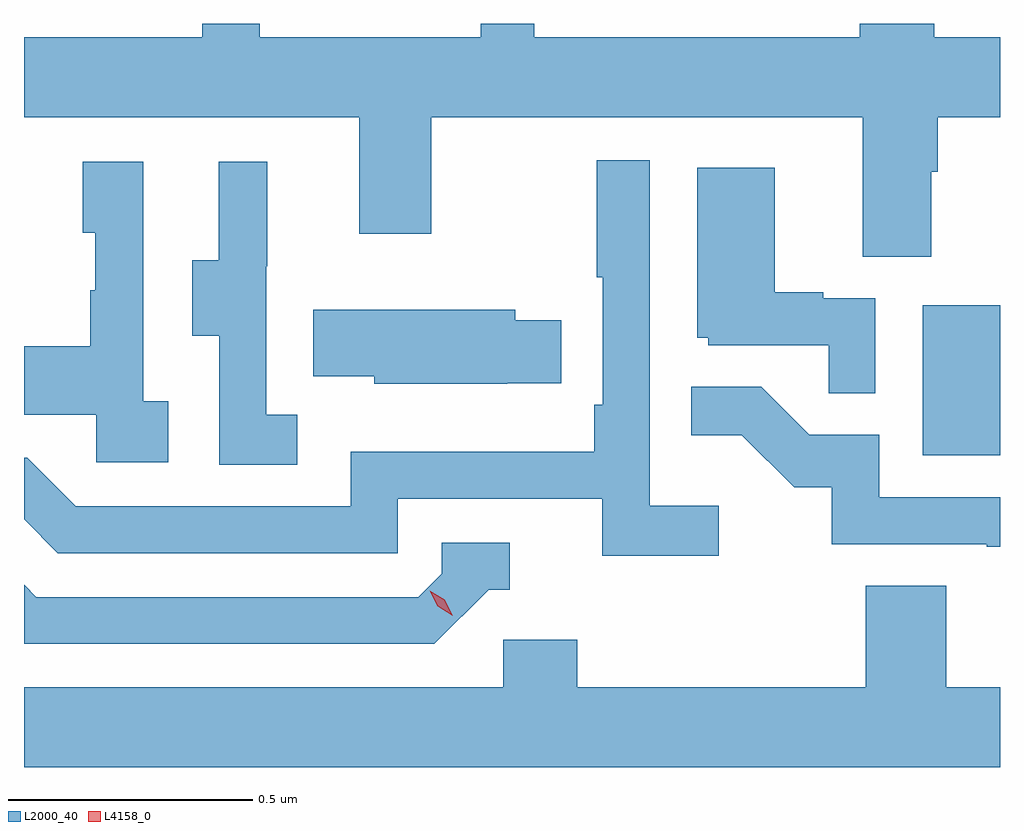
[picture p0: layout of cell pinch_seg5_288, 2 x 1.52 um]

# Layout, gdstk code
import gdstk
lib = gdstk.Library(unit=1e-6, precision=1e-09)
def R(c, l, rs):  # rectangles x0, y0, x1, y1
    for r in rs: c.add(gdstk.rectangle(r[:2], r[2:], *l))
def P(c, l, *ps):  # polygons
    for p in ps: c.add(gdstk.Polygon(p, *l))
L2000_40 = (2000, 40)
L4158_0 = (4158, 0)

pinch_seg5_288 = lib.new_cell('pinch_seg5_288')
R(pinch_seg5_288, L2000_40, [(907.508,896.028,907.666,896.335)])
P(pinch_seg5_288, L2000_40, [(907.525,896.608),(907.538,896.608),(907.538,896.72),(907.666,896.72),(907.666,896.884),(907.531,896.884),(907.531,896.912),(907.379,896.912),(907.379,896.884),(906.712,896.884),(906.712,896.912),(906.602,896.912),(906.602,896.884),(906.149,896.884),(906.149,896.912),(906.031,896.912),(906.031,896.884),(905.666,896.884),(905.666,896.72),(906.353,896.72),(906.353,896.481),(906.501,896.481),(906.501,896.72),(907.385,896.72),(907.385,896.434),(907.525,896.434)],
  [(907.09,895.924),(906.948,895.924),(906.948,896.632),(906.84,896.632),(906.84,896.392),(906.852,896.392),(906.852,896.131),(906.835,896.131),(906.835,896.035),(906.336,896.035),(906.336,895.923),(905.772,895.923),(905.673,896.022),(905.666,896.022),(905.666,895.896),(905.735,895.827),(906.432,895.827),(906.432,895.938),(906.851,895.938),(906.851,895.822),(907.09,895.822)],
  [(905.962,896.138),(905.91,896.138),(905.91,896.629),(905.786,896.629),(905.786,896.484),(905.812,896.484),(905.812,896.366),(905.802,896.366),(905.802,896.251),(905.666,896.251),(905.666,896.111),(905.814,896.111),(905.814,896.013),(905.962,896.013)],
  [(906.226,896.111),(906.162,896.111),(906.162,896.415),(906.164,896.415),(906.164,896.629),(906.065,896.629),(906.065,896.427),(906.011,896.427),(906.011,896.272),(906.066,896.272),(906.066,896.008),(906.226,896.008)],
  [(907.41,896.349),(907.304,896.349),(907.304,896.362),(907.204,896.362),(907.204,896.617),(907.046,896.617),(907.046,896.268),(907.068,896.268),(907.068,896.253),(907.315,896.253),(907.315,896.155),(907.41,896.155)],
  [(906.656,896.175),(906.767,896.175),(906.767,896.304),(906.673,896.304),(906.673,896.326),(906.259,896.326),(906.259,896.189),(906.384,896.189),(906.384,896.174),(906.656,896.174)],
  [(907.666,895.941),(907.419,895.941),(907.419,896.07),(907.275,896.07),(907.177,896.168),(907.033,896.168),(907.033,896.069),(907.137,896.069),(907.244,895.962),(907.321,895.962),(907.321,895.845),(907.639,895.845),(907.639,895.84),(907.666,895.84)],
  [(906.618,895.752),(906.661,895.752),(906.661,895.848),(906.522,895.848),(906.522,895.785),(906.474,895.737),(905.691,895.737),(905.666,895.762),(905.666,895.641),(906.507,895.641)],
  [(907.666,895.552),(907.556,895.552),(907.556,895.76),(907.391,895.76),(907.391,895.552),(906.8,895.552),(906.8,895.65),(906.648,895.65),(906.648,895.552),(905.666,895.552),(905.666,895.388),(907.666,895.388)])
P(pinch_seg5_288, L4158_0, [(906.545,895.699),(906.514,895.718),(906.497,895.75),(906.497,895.75),(906.497,895.75),(906.528,895.731),(906.545,895.699),(906.545,895.699)])

lib.write_gds('pinch_seg5_288.gds')
